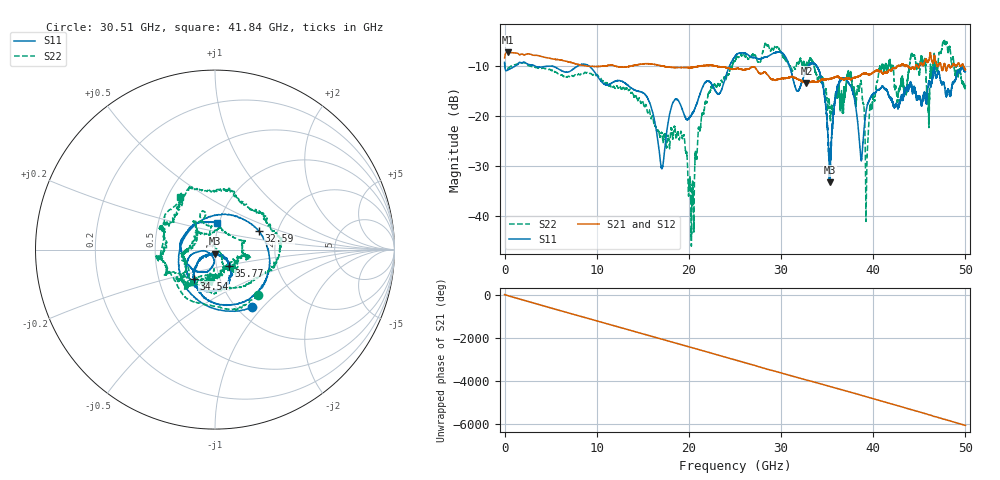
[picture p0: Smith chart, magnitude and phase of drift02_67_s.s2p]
!Created with skrf (http://scikit-rf.org).
# Hz S RI R 50.0
!freq ReS11 ImS11 ReS21 ImS21 ReS12 ImS12 ReS22 ImS22
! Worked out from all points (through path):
!   10001 points, 300 kHz to 50 GHz, reference 50 ohm
!   highest |S21| = -7.31 dB at 325.3 MHz (marker M1); lowest = -13.4 dB at 32.75 GHz (marker M2)
!   group delay of S21, straight-line fit = 335 ps
!   lowest |S11| = -33.2 dB at 35.29 GHz (marker M3), VSWR 1.04, Z = 50 - j2.18 ohm
!   |S11| at or under -10 dB: 3.225 GHz to 8.003 GHz (4.778 GHz wide, 85.1 % of centre); 9.107 GHz to 24.42 GHz (15.31 GHz wide, 91.3 % of centre); 33.83 GHz to end of sweep (the widest 3 of 8)
!   |S22| runs from -46.0 to -5.0 dB; largest |S21 - S12| = 0.014
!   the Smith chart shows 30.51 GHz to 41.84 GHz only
!   S11 on the Smith chart (normalised r, x): 30.51 GHz: 1.17, -0.88; 32.59 GHz: 1.61, +0.35; 34.54 GHz: 0.75, -0.25; 35.77 GHz: 1.15, -0.22; 41.84 GHz: 0.98, +0.30
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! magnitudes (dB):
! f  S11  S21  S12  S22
! 300 kHz  -9.3  -8.5  -8.4  -9.4
! 325.3 MHz  -10.9  -7.3  -7.3  -10.6
! 8.335 GHz  -9.7  -9.9  -9.9  -11.6
! 16.67 GHz  -25.6  -9.9  -9.9  -22.9
! 19.31 GHz  -18.9  -10.4  -10.4  -24.6
! 20.37 GHz  -19.5  -10.3  -10.4  -34.2
! 21.94 GHz  -13.1  -10.0  -10.0  -17.2
! 25 GHz  -8.2  -10.6  -10.6  -9.0
! 30.51 GHz  -8.3  -12.5  -12.4  -9.1
! 32.59 GHz  -11.5  -13.2  -13.3  -10.5
! 32.75 GHz  -10.8  -13.4  -13.5  -9.7
! 33.34 GHz  -9.4  -13.2  -13.2  -9.0
! 34.54 GHz  -13.9  -12.7  -12.7  -12.5
! 35.29 GHz  -33.2  -12.6  -12.6  -19.1
! 35.77 GHz  -18.3  -12.4  -12.4  -18.0
! 37.2 GHz  -13.2  -12.7  -12.7  -11.7
! 38.54 GHz  -25.9  -12.0  -12.0  -14.3
! 39.31 GHz  -18.2  -11.6  -11.6  -29.2
! 41.67 GHz  -15.9  -10.9  -11.1  -9.9
! 41.84 GHz  -16.4  -10.9  -10.9  -9.1
! 47.77 GHz  -14.4  -9.8  -9.7  -5.5
! 50 GHz  -11.1  -10.8  -10.8  -14.0
